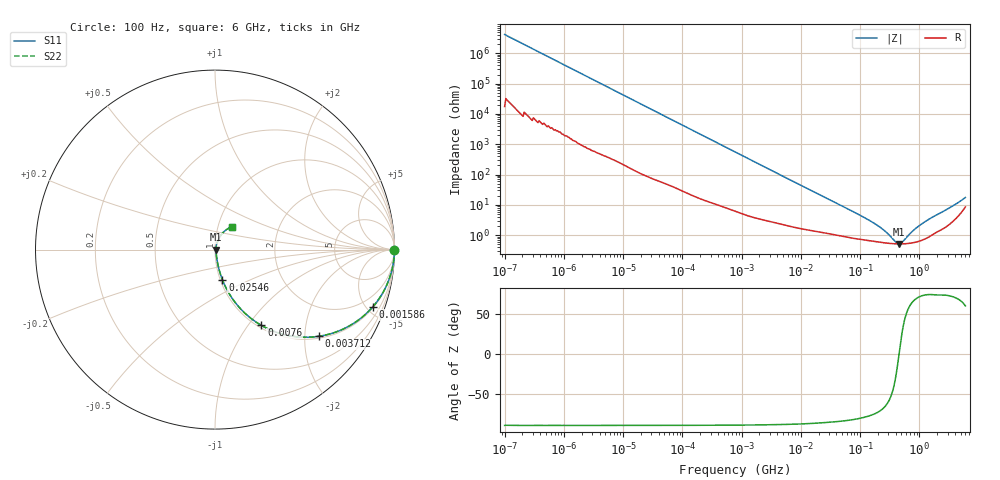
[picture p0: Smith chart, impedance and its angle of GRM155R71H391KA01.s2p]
!Murata Part Number: GRM155R71H391KA01
!These Parameters are Measured in Series Mode Connection
!Data Generated on Mar 30, 2021
!  o--ll--o
!Port1  Port2
!  o------o
!Operation Temp=25[degC], DC Bias Voltage=0[V]
!Freq. Start=100[Hz] Stop=6[GHz] 401[Steps]
# Hz S RI R 50
!Freq.(Hz) S11(Real) S11(Imag) S21(Real) S21(Imag) S12(Real) S12(Imag) S22(Real) S22(Imag)
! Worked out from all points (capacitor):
!   401 points, 100 Hz to 6 GHz, reference 50 ohm
!   read as one part in series: C = 379 pF near 109 Hz
!   lowest |Z| = 515 mohm at 447 MHz (marker M1)
!   series resonance near 454.9 MHz, so ESL is about 320 pH
!   S11 on the Smith chart (normalised r, x): 100 Hz: open; 1.586 MHz: 1.08, -5.48; 3.712 MHz: 1.05, -2.35; 7.6 MHz: 1.04, -1.16; 25.46 MHz: 1.02, -0.35; 6 GHz: 1.17, +0.31
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100  1 -2.38e-05  1e-07 2.38e-05  1e-07 2.38e-05  1 -2.38e-05
419  1 -9.95e-05  5e-07 9.95e-05  5e-07 9.95e-05  1 -9.95e-05
2008  1 -0.000474  2.3e-06 0.000474  2.3e-06 0.000474  1 -0.000474
40335  0.9999 -0.00945  0.000143 0.00945  0.000143 0.00945  0.9999 -0.00945
241822  0.9964 -0.056  0.00359 0.056  0.00359 0.056  0.9964 -0.056
774597  0.9672 -0.1728  0.0328 0.1728  0.0328 0.1728  0.9672 -0.1728
1585629  0.879 -0.3192  0.121 0.3192  0.121 0.3192  0.879 -0.3192
2372521  0.7673 -0.4141  0.2327 0.4141  0.2327 0.4141  0.7673 -0.4141
3712478  0.5794 -0.4829  0.4206 0.4829  0.4206 0.4829  0.5794 -0.4829
7599586  0.2583 -0.4222  0.7417 0.4222  0.7417 0.4222  0.2583 -0.4222
1.555665e7  0.0864 -0.2575  0.9136 0.2575  0.9136 0.2575  0.0864 -0.2575
2.545746e7  0.0408 -0.1671  0.9592 0.1671  0.9592 0.1671  0.0408 -0.1671
1.459435e8  0.00734 -0.029  0.9927 0.029  0.9927 0.029  0.00734 -0.029
2.283698e8  0.00597 -0.0159  0.994 0.0159  0.994 0.0159  0.00597 -0.0159
3.124326e8  0.00539 -0.00833  0.9946 0.00833  0.9946 0.00833  0.00539 -0.00833
3.908258e8  0.00517 -0.00333  0.9948 0.00333  0.9948 0.00333  0.00517 -0.00333
4.470121e8  0.00511 -0.000378  0.9949 0.000378  0.9949 0.000378  0.00511 -0.000378
5.112761e8  0.00513 0.00259  0.9949 -0.00259  0.9949 -0.00259  0.00513 0.00259
8.000355e8  0.00581 0.0132  0.9942 -0.0132  0.9942 -0.0132  0.00581 0.0132
1.197065e9  0.00779 0.025  0.9922 -0.025  0.9922 -0.025  0.00779 0.025
3.352442e9  0.0294 0.0752  0.9706 -0.0752  0.9706 -0.0752  0.0294 0.0752
6e9  0.0969 0.1271  0.9031 -0.1271  0.9031 -0.1271  0.0969 0.1271
